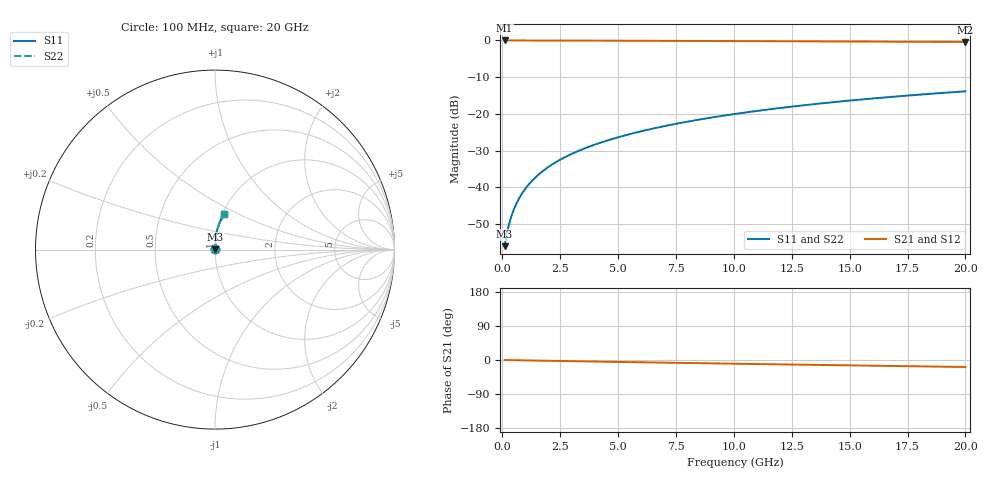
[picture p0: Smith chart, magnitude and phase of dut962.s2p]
! Touchstone file exported from HFSS 2024.1.0
!  File:  C:/UserFiles/LocalFiles/RDL_TSV_Batchsim/temp_RDL_top_962_1779938493.aedt
!  Generated:  11:23:47 AM May 28, 2026
!  Design:  RDL_top
!  Project:  temp_RDL_top_962_1779938493
!  Setup:  Setup1
!  Solution:  Sweep
! Variables:
!  dtsv = 10.80580581um
!  hbump = 3um
!  htsv = 55.25um
!  ldown = 100um
!  lrdl = 244.12um
!  p = 40
!  p1 = 43.38um
!  rhole = 1um
!  t = 450um
!  tdown = 3.915915916um
!  trdl = 4.59um
!  wdown = 15.38538539um
!  wrdl = 17.67um
# GHz S MA R 50.000000
! Terminal data exported
! Port[1] = Box2_T1
! Port[2] = Box2_T2
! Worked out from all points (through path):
!   200 points, 100 MHz to 20 GHz, reference 50 ohm
!   highest |S21| = -0.01 dB at 100 MHz (marker M1); lowest = -0.4 dB at 20 GHz (marker M2)
!   group delay of S21, straight-line fit = 2.54 ps
!   lowest |S11| = -56.0 dB at 100 MHz (marker M3), VSWR 1.00, Z = 50.1 + j0.102 ohm
!   |S11| at or under -10 dB: start of sweep to end of sweep
!   |S22| runs from -56.0 to -13.9 dB; largest |S21 - S12| = 6.3e-15
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0.1  0.001581 40.0  0.9988 -0.1  0.9988 -0.1  0.001581 40.0
! Gamma 0 0 0 0
! Port Impedance 50 0 50 0
0.2  0.002364 57.7  0.9987 -0.2  0.9987 -0.2  0.002364 57.7
0.3  0.003227 66.0  0.9987 -0.3  0.9987 -0.3  0.003227 66.0
0.4  0.004114 70.9  0.9986 -0.4  0.9986 -0.4  0.004114 70.9
0.5  0.005014 74.1  0.9985 -0.5  0.9985 -0.5  0.005014 74.1
0.6  0.005923 76.4  0.9985 -0.6  0.9985 -0.6  0.005923 76.4
0.8  0.007762 79.4  0.9984 -0.8  0.9984 -0.8  0.007762 79.4
1.1  0.01055 82.0  0.9982 -1.2  0.9982 -1.2  0.01055 82.0
1.5  0.0143 83.9  0.9978 -1.6  0.9978 -1.6  0.0143 83.9
1.8  0.01713 84.8  0.9975 -1.9  0.9975 -1.9  0.01713 84.8
2.1  0.01997 85.3  0.9972 -2.2  0.9972 -2.2  0.01997 85.4
2.7  0.02568 86.1  0.9964 -2.8  0.9964 -2.8  0.02568 86.1
3.5  0.03336 86.6  0.995 -3.6  0.995 -3.6  0.03336 86.6
4.2  0.04016 86.7  0.9937 -4.3  0.9937 -4.3  0.04016 86.7
5  0.04802 86.7  0.992 -5.1  0.992 -5.1  0.04802 86.7
5.9  0.05699 86.6  0.9899 -6.0  0.9899 -6.0  0.05699 86.6
6.8  0.06609 86.3  0.9877 -6.8  0.9877 -6.8  0.06609 86.3
8.4  0.08254 85.5  0.9837 -8.3  0.9837 -8.3  0.08254 85.5
10.1  0.1003 84.3  0.9794 -9.9  0.9794 -9.9  0.1003 84.3
13.4  0.135 81.6  0.9708 -12.8  0.9708 -12.8  0.135 81.6
16.7  0.1693 78.6  0.962 -15.7  0.962 -15.7  0.1693 78.6
20  0.2028 75.6  0.9529 -18.5  0.9529 -18.5  0.2028 75.6
